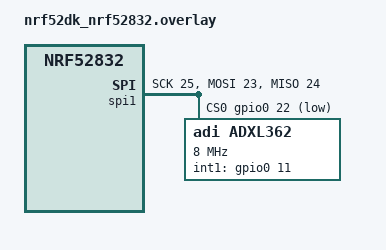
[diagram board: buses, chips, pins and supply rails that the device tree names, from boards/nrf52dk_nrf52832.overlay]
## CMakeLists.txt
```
# Copyright (c) 2019 Brett Witherspoon
#
# SPDX-License-Identifier: Apache-2.0

cmake_minimum_required(VERSION 3.13.1)

find_package(Zephyr REQUIRED HINTS $ENV{ZEPHYR_BASE})
project(adxl362)

target_sources(app PRIVATE src/main.c)
```

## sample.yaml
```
sample:
  name: adxl362 sample
  description: ADXL362 accelerometer sample application
tests:
  sample.sensor.adxl362:
    harness: sensor
    tags: sensors
    depends_on: spi
    integration_platforms:
      - nrf52dk_nrf52832
    platform_allow: nrf52dk_nrf52832
```

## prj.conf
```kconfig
CONFIG_STDOUT_CONSOLE=y
CONFIG_SPI=y
CONFIG_SENSOR=y
CONFIG_ADXL362=y
CONFIG_ADXL362_TRIGGER_GLOBAL_THREAD=y
CONFIG_ADXL362_INTERRUPT_MODE=1
CONFIG_ADXL362_ABS_REF_MODE=1
CONFIG_CBPRINTF_FP_SUPPORT=y
```

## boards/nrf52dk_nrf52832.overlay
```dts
/*
 * Copyright (c) 2019 Nordic Semiconductor ASA
 *
 * SPDX-License-Identifier: Apache-2.0
 */

&spi1 {
	status = "okay";
	sck-pin = <25>;
	mosi-pin = <23>;
	miso-pin = <24>;
	cs-gpios = <&gpio0 22 GPIO_ACTIVE_LOW>;

	adxl362@0 {
		compatible = "adi,adxl362";
		label = "ADXL362";
		spi-max-frequency = <8000000>;
		reg = <0>;
		int1-gpios = <&gpio0 11 GPIO_ACTIVE_HIGH>;
	};
};
```

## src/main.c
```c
/*
 * Copyright (c) 2019 Brett Witherspoon
 *
 * SPDX-License-Identifier: Apache-2.0
 */

#include <zephyr.h>
#include <stdio.h>
#include <device.h>
#include <drivers/sensor.h>

K_SEM_DEFINE(sem, 0, 1);

static void trigger_handler(const struct device *dev,
			    struct sensor_trigger *trig)
{
	switch (trig->type) {
	case SENSOR_TRIG_DATA_READY:
		if (sensor_sample_fetch(dev) < 0) {
			printf("Sample fetch error\n");
			return;
		}
		k_sem_give(&sem);
		break;
	case SENSOR_TRIG_THRESHOLD:
		printf("Threshold trigger\n");
		break;
	default:
		printf("Unknown trigger\n");
	}
}

void main(void)
{
	struct sensor_value accel[3];

	const struct device *dev = device_get_binding(DT_LABEL(DT_INST(0, adi_adxl362)));
	if (dev == NULL) {
		printf("Device get binding device\n");
		return;
	}

	if (IS_ENABLED(CONFIG_ADXL362_TRIGGER)) {
		struct sensor_trigger trig = { .chan = SENSOR_CHAN_ACCEL_XYZ };

		trig.type = SENSOR_TRIG_THRESHOLD;
		if (sensor_trigger_set(dev, &trig, trigger_handler)) {
			printf("Trigger set error\n");
			return;
		}

		trig.type = SENSOR_TRIG_DATA_READY;
		if (sensor_trigger_set(dev, &trig, trigger_handler)) {
			printf("Trigger set error\n");
		}
	}

	while (true) {
		if (IS_ENABLED(CONFIG_ADXL362_TRIGGER)) {
			k_sem_take(&sem, K_FOREVER);
		} else {
			k_sleep(K_MSEC(1000));
			if (sensor_sample_fetch(dev) < 0) {
				printf("Sample fetch error\n");
				return;
			}
		}

		if (sensor_channel_get(dev, SENSOR_CHAN_ACCEL_X, &accel[0]) < 0) {
			printf("Channel get error\n");
			return;
		}

		if (sensor_channel_get(dev, SENSOR_CHAN_ACCEL_Y, &accel[1]) < 0) {
			printf("Channel get error\n");
			return;
		}

		if (sensor_channel_get(dev, SENSOR_CHAN_ACCEL_Z, &accel[2]) < 0) {
			printf("Channel get error\n");
			return;
		}

		printf("x: %.1f, y: %.1f, z: %.1f (m/s^2)\n",
		       sensor_value_to_double(&accel[0]),
		       sensor_value_to_double(&accel[1]),
		       sensor_value_to_double(&accel[2]));
	}
}
```
